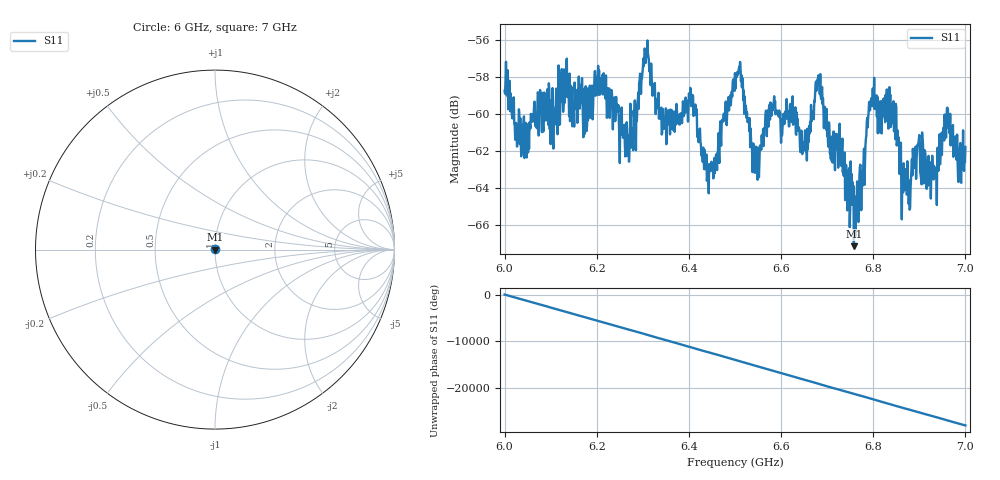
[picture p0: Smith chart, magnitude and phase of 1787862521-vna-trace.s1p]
! Created with skrf 1.10.0 (http://scikit-rf.org).
# Hz S RI R 50.0
!freq ReS11 ImS11
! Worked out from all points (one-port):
!   1001 points, 6 GHz to 7 GHz, reference 50 ohm
!   lowest |S11| = -67.2 dB at 6.758 GHz (marker M1), VSWR 1.00, Z = 50 + j0.00943 ohm
!   |S11| at or under -10 dB: start of sweep to end of sweep
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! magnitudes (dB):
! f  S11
! 6 GHz  -58.7
! 6.048 GHz  -62.4
! 6.125 GHz  -59.0
! 6.207 GHz  -58.9
! 6.25 GHz  -62.7
! 6.274 GHz  -61.5
! 6.308 GHz  -56.8
! 6.342 GHz  -61.0
! 6.375 GHz  -60.4
! 6.405 GHz  -59.6
! 6.444 GHz  -62.7
! 6.5 GHz  -57.8
! 6.512 GHz  -57.5
! 6.547 GHz  -63.2
! 6.582 GHz  -59.8
! 6.625 GHz  -59.0
! 6.651 GHz  -61.9
! 6.68 GHz  -58.1
! 6.707 GHz  -62.0
! 6.75 GHz  -65.1
! 6.758 GHz  -67.2
! 6.797 GHz  -59.6
! 6.839 GHz  -60.5
! 6.875 GHz  -64.4
! 6.896 GHz  -61.7
! 6.934 GHz  -63.4
! 6.96 GHz  -59.7
! 7 GHz  -61.8
